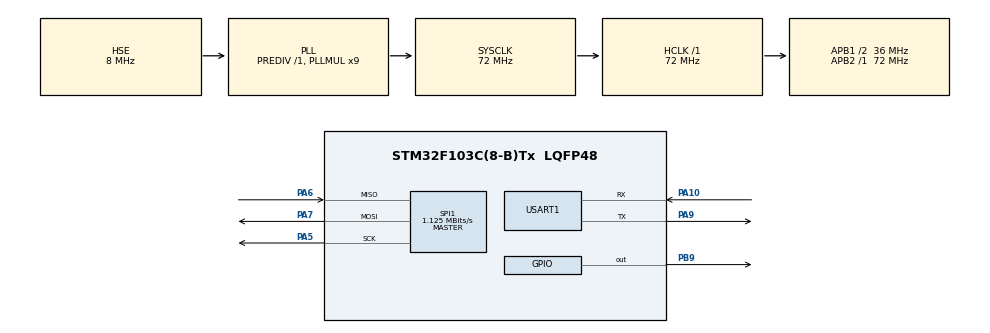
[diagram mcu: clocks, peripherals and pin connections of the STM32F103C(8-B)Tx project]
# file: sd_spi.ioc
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FATFS._MAX_SS=4096
FATFS._USE_LFN=1
Mcu.Family=STM32F1
Mcu.Name=STM32F103C(8-B)Tx
Mcu.Package=LQFP48
NVIC.PriorityGroup=NVIC_PRIORITYGROUP_4
PA10.Mode=Asynchronous
PA10.Signal=USART1_RX
PA13.Mode=Serial_Wire
PA13.Signal=SYS_JTMS-SWDIO
PA14.Mode=Serial_Wire
PA14.Signal=SYS_JTCK-SWCLK
PA5.Mode=Full_Duplex_Master
PA5.Signal=SPI1_SCK
PA6.Mode=Full_Duplex_Master
PA6.Signal=SPI1_MISO
PA7.Mode=Full_Duplex_Master
PA7.Signal=SPI1_MOSI
PA9.Mode=Asynchronous
PA9.Signal=USART1_TX
PB9.PinState=GPIO_PIN_SET
PB9.Signal=GPIO_Output
PD0-OSC_IN.Mode=HSE-External-Oscillator
PD0-OSC_IN.Signal=RCC_OSC_IN
PD1-OSC_OUT.Mode=HSE-External-Oscillator
PD1-OSC_OUT.Signal=RCC_OSC_OUT
ProjectManager.HeapSize=0x200
ProjectManager.StackSize=0x400
ProjectManager.TargetToolchain=STM32CubeIDE
RCC.AHBFreq_Value=72000000
RCC.APB1CLKDivider=RCC_HCLK_DIV2
RCC.APB1Freq_Value=36000000
RCC.APB1TimFreq_Value=72000000
RCC.APB2Freq_Value=72000000
RCC.APB2TimFreq_Value=72000000
RCC.HCLKFreq_Value=72000000
RCC.PLLMUL=RCC_PLL_MUL9
RCC.PLLSourceVirtual=RCC_PLLSOURCE_HSE
RCC.SYSCLKFreq_VALUE=72000000
RCC.SYSCLKSource=RCC_SYSCLKSOURCE_PLLCLK
RCC.USBFreq_Value=72000000
SPI1.BaudRatePrescaler=SPI_BAUDRATEPRESCALER_64
SPI1.CalculateBaudRate=1.125 MBits/s
SPI1.Direction=SPI_DIRECTION_2LINES
SPI1.Mode=SPI_MODE_MASTER
SPI1.VirtualType=VM_MASTER
USART1.VirtualMode=VM_ASYNC
VP_FATFS_VS_Generic.Mode=User_defined
board=custom

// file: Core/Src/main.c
/* USER CODE BEGIN Header */
/**
  ******************************************************************************
  * @file           : main.c
  * @brief          : Main program body
  ******************************************************************************
  * @attention
  *
  * Copyright (c) 2025 STMicroelectronics.
  * All rights reserved.
  *
  * This software is licensed under terms that can be found in the LICENSE file
  * in the root directory of this software component.
  * If no LICENSE file comes with this software, it is provided AS-IS.
  *
  ******************************************************************************
  */
/* USER CODE END Header */
#include "main.h"
#include "fatfs.h"

/* USER CODE BEGIN Includes */
#include <stdio.h>
/* USER CODE END Includes */

SPI_HandleTypeDef hspi1;

UART_HandleTypeDef huart1;

/* USER CODE BEGIN PV */
FATFS fs;
FATFS *pfs;
FIL fil;
FRESULT fres;
DWORD fre_clust;
uint32_t total, _free;
char buffer[100];

/* USER CODE END PV */

void SystemClock_Config(void);
static void MX_GPIO_Init(void);
static void MX_SPI1_Init(void);
static void MX_USART1_UART_Init(void);

/* USER CODE BEGIN 0 */

void _Error_Handler(char* file, int line)
{
	printf("Error on %s,%d\n", file, line);

	__disable_irq();
	while (1)
	{
	}
}

int __io_putchar(int ch)
{
  if (HAL_UART_Transmit(&huart1, (uint8_t*)&ch, 1, 0xFFFF) != 0) {
    return -1;
  }
  return ch;
}
/* USER CODE END 0 */

int main(void)
{

  /* MCU Configuration--------------------------------------------------------*/

  /* Reset of all peripherals, Initializes the Flash interface and the Systick. */
  HAL_Init();

  /* Configure the system clock */
  SystemClock_Config();

  /* Initialize all configured peripherals */
  MX_GPIO_Init();
  MX_SPI1_Init();
  MX_FATFS_Init();
  MX_USART1_UART_Init();
  /* USER CODE BEGIN 2 */

  printf("Start\n");

  /* Mount SD Card */
    if(f_mount(&fs, "", 0) != FR_OK)
      _Error_Handler(__FILE__, __LINE__);

    /* Open file to write */
    if(f_open(&fil, "first.txt", FA_OPEN_ALWAYS | FA_READ | FA_WRITE) != FR_OK)
      _Error_Handler(__FILE__, __LINE__);

    /* Check free space */
    if(f_getfree("", &fre_clust, &pfs) != FR_OK)
      _Error_Handler(__FILE__, __LINE__);

    total = (uint32_t)((pfs->n_fatent - 2) * pfs->csize * 0.5);
    _free = (uint32_t)(fre_clust * pfs->csize * 0.5);

    /* Free space is less than 1kb */
    if(_free < 1)
      _Error_Handler(__FILE__, __LINE__);

    /* Writing text */
    f_puts("STM32 SD Card I/O Example via SPI\n", &fil);
    f_puts("Save the world!!!", &fil);

    /* Close file */
    if(f_close(&fil) != FR_OK)
      _Error_Handler(__FILE__, __LINE__);

    /* Open file to read */
    if(f_open(&fil, "first.txt", FA_READ) != FR_OK)
      _Error_Handler(__FILE__, __LINE__);

    while(f_gets(buffer, sizeof(buffer), &fil))
    {
      //printf("%s", buffer);
    }

    /* Close file */
    if(f_close(&fil) != FR_OK)
      _Error_Handler(__FILE__, __LINE__);

    /* Unmount SDCARD */
    if(f_mount(NULL, "", 1) != FR_OK)
      _Error_Handler(__FILE__, __LINE__);

  /* USER CODE END 2 */

  /* Infinite loop */
  while (1)
  {

  }
}

void SystemClock_Config(void)
{
  RCC_OscInitTypeDef RCC_OscInitStruct = {0};
  RCC_ClkInitTypeDef RCC_ClkInitStruct = {0};

  /** Initializes the RCC Oscillators according to the specified parameters
  * in the RCC_OscInitTypeDef structure.
  */
  RCC_OscInitStruct.OscillatorType = RCC_OSCILLATORTYPE_HSE;
  RCC_OscInitStruct.HSEState = RCC_HSE_ON;
  RCC_OscInitStruct.HSEPredivValue = RCC_HSE_PREDIV_DIV1;
  RCC_OscInitStruct.HSIState = RCC_HSI_ON;
  RCC_OscInitStruct.PLL.PLLState = RCC_PLL_ON;
  RCC_OscInitStruct.PLL.PLLSource = RCC_PLLSOURCE_HSE;
  RCC_OscInitStruct.PLL.PLLMUL = RCC_PLL_MUL9;
  if (HAL_RCC_OscConfig(&RCC_OscInitStruct) != HAL_OK)
  {
    Error_Handler();
  }

  /** Initializes the CPU, AHB and APB buses clocks
  */
  RCC_ClkInitStruct.ClockType = RCC_CLOCKTYPE_HCLK|RCC_CLOCKTYPE_SYSCLK
                              |RCC_CLOCKTYPE_PCLK1|RCC_CLOCKTYPE_PCLK2;
  RCC_ClkInitStruct.SYSCLKSource = RCC_SYSCLKSOURCE_PLLCLK;
  RCC_ClkInitStruct.AHBCLKDivider = RCC_SYSCLK_DIV1;
  RCC_ClkInitStruct.APB1CLKDivider = RCC_HCLK_DIV2;
  RCC_ClkInitStruct.APB2CLKDivider = RCC_HCLK_DIV1;

  if (HAL_RCC_ClockConfig(&RCC_ClkInitStruct, FLASH_LATENCY_2) != HAL_OK)
  {
    Error_Handler();
  }
}

static void MX_SPI1_Init(void)
{

  /* SPI1 parameter configuration*/
  hspi1.Instance = SPI1;
  hspi1.Init.Mode = SPI_MODE_MASTER;
  hspi1.Init.Direction = SPI_DIRECTION_2LINES;
  hspi1.Init.DataSize = SPI_DATASIZE_8BIT;
  hspi1.Init.CLKPolarity = SPI_POLARITY_LOW;
  hspi1.Init.CLKPhase = SPI_PHASE_1EDGE;
  hspi1.Init.NSS = SPI_NSS_SOFT;
  hspi1.Init.BaudRatePrescaler = SPI_BAUDRATEPRESCALER_64;
  hspi1.Init.FirstBit = SPI_FIRSTBIT_MSB;
  hspi1.Init.TIMode = SPI_TIMODE_DISABLE;
  hspi1.Init.CRCCalculation = SPI_CRCCALCULATION_DISABLE;
  hspi1.Init.CRCPolynomial = 10;
  if (HAL_SPI_Init(&hspi1) != HAL_OK)
  {
    Error_Handler();
  }

}

static void MX_USART1_UART_Init(void)
{

  huart1.Instance = USART1;
  huart1.Init.BaudRate = 115200;
  huart1.Init.WordLength = UART_WORDLENGTH_8B;
  huart1.Init.StopBits = UART_STOPBITS_1;
  huart1.Init.Parity = UART_PARITY_NONE;
  huart1.Init.Mode = UART_MODE_TX_RX;
  huart1.Init.HwFlowCtl = UART_HWCONTROL_NONE;
  huart1.Init.OverSampling = UART_OVERSAMPLING_16;
  if (HAL_UART_Init(&huart1) != HAL_OK)
  {
    Error_Handler();
  }

}

static void MX_GPIO_Init(void)
{
  GPIO_InitTypeDef GPIO_InitStruct = {0};

  /* GPIO Ports Clock Enable */
  __HAL_RCC_GPIOD_CLK_ENABLE();
  __HAL_RCC_GPIOA_CLK_ENABLE();
  __HAL_RCC_GPIOB_CLK_ENABLE();

  /*Configure GPIO pin Output Level */
  HAL_GPIO_WritePin(GPIOB, GPIO_PIN_9, GPIO_PIN_SET);

  /*Configure GPIO pin : PB9 */
  GPIO_InitStruct.Pin = GPIO_PIN_9;
  GPIO_InitStruct.Mode = GPIO_MODE_OUTPUT_PP;
  GPIO_InitStruct.Pull = GPIO_NOPULL;
  GPIO_InitStruct.Speed = GPIO_SPEED_FREQ_LOW;
  HAL_GPIO_Init(GPIOB, &GPIO_InitStruct);

}

void Error_Handler(void)
{
  __disable_irq();
  while (1)
  {
  }
}
